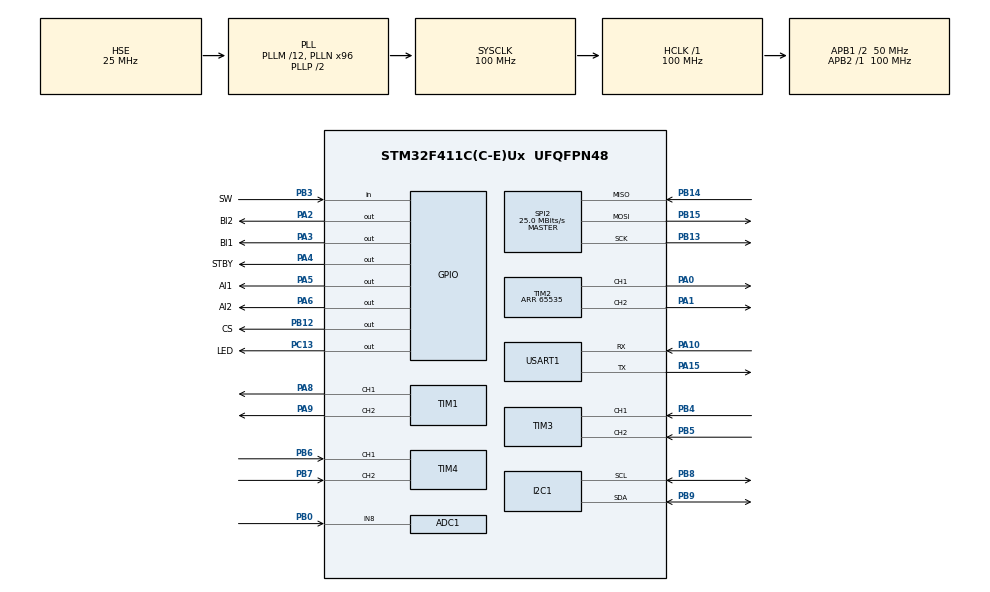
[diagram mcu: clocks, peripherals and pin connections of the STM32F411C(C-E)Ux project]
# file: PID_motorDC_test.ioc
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ADC1.Channel-5\#ChannelRegularConversion=ADC_CHANNEL_8
ADC1.ContinuousConvMode=DISABLE
ADC1.DMAContinuousRequests=ENABLE
ADC1.NbrOfConversionFlag=1
ADC1.Rank-5\#ChannelRegularConversion=1
ADC1.Resolution=ADC_RESOLUTION_12B
ADC1.SamplingTime-5\#ChannelRegularConversion=ADC_SAMPLETIME_3CYCLES
ADC1.ScanConvMode=DISABLE
ADC1.master=1
Dma.ADC1.0.Direction=DMA_PERIPH_TO_MEMORY
Dma.ADC1.0.FIFOMode=DMA_FIFOMODE_DISABLE
Dma.ADC1.0.Instance=DMA2_Stream0
Dma.ADC1.0.MemDataAlignment=DMA_MDATAALIGN_HALFWORD
Dma.ADC1.0.MemInc=DMA_MINC_ENABLE
Dma.ADC1.0.Mode=DMA_CIRCULAR
Dma.ADC1.0.PeriphDataAlignment=DMA_PDATAALIGN_HALFWORD
Dma.ADC1.0.PeriphInc=DMA_PINC_DISABLE
Dma.ADC1.0.Priority=DMA_PRIORITY_LOW
Dma.Request0=ADC1
I2C1.I2C_Mode=I2C_Standard
Mcu.Family=STM32F4
Mcu.Name=STM32F411C(C-E)Ux
Mcu.Package=UFQFPN48
NVIC.DMA2_Stream0_IRQn=true\:5\:0\:true\:false\:true\:false\:true\:true
NVIC.PriorityGroup=NVIC_PRIORITYGROUP_4
NVIC.TIM1_UP_TIM10_IRQn=true\:5\:0\:true\:false\:true\:true\:true\:true
PA0-WKUP.Signal=S_TIM2_CH1_ETR
PA1.Signal=S_TIM2_CH2
PA10.Mode=Asynchronous
PA10.Signal=USART1_RX
PA13.Mode=Serial_Wire
PA13.Signal=SYS_JTMS-SWDIO
PA14.Mode=Serial_Wire
PA14.Signal=SYS_JTCK-SWCLK
PA15.Mode=Asynchronous
PA15.Signal=USART1_TX
PA2.GPIO_Label=BI2
PA2.Signal=GPIO_Output
PA3.GPIO_Label=BI1
PA3.Signal=GPIO_Output
PA4.GPIO_Label=STBY
PA4.Signal=GPIO_Output
PA5.GPIO_Label=AI1
PA5.Signal=GPIO_Output
PA6.GPIO_Label=AI2
PA6.Signal=GPIO_Output
PA8.Signal=S_TIM1_CH1
PA9.Signal=S_TIM1_CH2
PB0.Signal=ADCx_IN8
PB12.GPIO_Label=CS
PB12.Signal=GPIO_Output
PB13.Mode=Full_Duplex_Master
PB13.Signal=SPI2_SCK
PB14.Mode=Full_Duplex_Master
PB14.Signal=SPI2_MISO
PB15.Mode=Full_Duplex_Master
PB15.Signal=SPI2_MOSI
PB3.GPIO_Label=SW
PB3.Signal=GPIO_Input
PB4.Signal=S_TIM3_CH1
PB5.Signal=S_TIM3_CH2
PB6.Signal=S_TIM4_CH1
PB7.Signal=S_TIM4_CH2
PB8.Mode=I2C
PB8.Signal=I2C1_SCL
PB9.Mode=I2C
PB9.Signal=I2C1_SDA
PC13-ANTI_TAMP.GPIO_Label=LED
PC13-ANTI_TAMP.Signal=GPIO_Output
PC14-OSC32_IN.Mode=LSE-External-Oscillator
PC14-OSC32_IN.Signal=RCC_OSC32_IN
PC15-OSC32_OUT.Mode=LSE-External-Oscillator
PC15-OSC32_OUT.Signal=RCC_OSC32_OUT
PH0\ -\ OSC_IN.Mode=HSE-External-Oscillator
PH0\ -\ OSC_IN.Signal=RCC_OSC_IN
PH1\ -\ OSC_OUT.Mode=HSE-External-Oscillator
PH1\ -\ OSC_OUT.Signal=RCC_OSC_OUT
ProjectManager.HeapSize=0x200
ProjectManager.StackSize=0x400
ProjectManager.TargetToolchain=STM32CubeIDE
RCC.48MHZClocksFreq_Value=50000000
RCC.AHBFreq_Value=100000000
RCC.APB1CLKDivider=RCC_HCLK_DIV2
RCC.APB1Freq_Value=50000000
RCC.APB1TimFreq_Value=100000000
RCC.APB2Freq_Value=100000000
RCC.APB2TimFreq_Value=100000000
RCC.CortexFreq_Value=100000000
RCC.HCLKFreq_Value=100000000
RCC.HSE_VALUE=25000000
RCC.HSI_VALUE=16000000
RCC.PLLM=12
RCC.PLLN=96
RCC.PLLSourceVirtual=RCC_PLLSOURCE_HSE
RCC.SYSCLKFreq_VALUE=100000000
RCC.SYSCLKSource=RCC_SYSCLKSOURCE_PLLCLK
RCC.VCOOutputFreq_Value=200000000
SH.ADCx_IN8.0=ADC1_IN8,IN8
SH.S_TIM1_CH1.0=TIM1_CH1,PWM Generation1 CH1
SH.S_TIM1_CH2.0=TIM1_CH2,PWM Generation2 CH2
SH.S_TIM2_CH1_ETR.0=TIM2_CH1,PWM Generation1 CH1
SH.S_TIM2_CH2.0=TIM2_CH2,PWM Generation2 CH2
SH.S_TIM3_CH1.0=TIM3_CH1,Encoder_Interface
SH.S_TIM3_CH2.0=TIM3_CH2,Encoder_Interface
SH.S_TIM4_CH1.0=TIM4_CH1,Encoder_Interface
SH.S_TIM4_CH2.0=TIM4_CH2,Encoder_Interface
SPI2.CRCCalculation=SPI_CRCCALCULATION_DISABLE
SPI2.CalculateBaudRate=25.0 MBits/s
SPI2.Direction=SPI_DIRECTION_2LINES
SPI2.Mode=SPI_MODE_MASTER
SPI2.VirtualType=VM_MASTER
TIM1.AutoReloadPreload=TIM_AUTORELOAD_PRELOAD_ENABLE
TIM1.Channel-PWM\ Generation1\ CH1=TIM_CHANNEL_1
TIM1.Channel-PWM\ Generation2\ CH2=TIM_CHANNEL_2
TIM10.Period=62499
TIM10.Prescaler=15
TIM2.AutoReloadPreload=TIM_AUTORELOAD_PRELOAD_ENABLE
TIM2.Channel-PWM\ Generation1\ CH1=TIM_CHANNEL_1
TIM2.Channel-PWM\ Generation2\ CH2=TIM_CHANNEL_2
TIM2.Period=65535
TIM3.AutoReloadPreload=TIM_AUTORELOAD_PRELOAD_ENABLE
TIM3.EncoderMode=TIM_ENCODERMODE_TI12
TIM3.IC1Polarity=TIM_ICPOLARITY_RISING
TIM4.AutoReloadPreload=TIM_AUTORELOAD_PRELOAD_ENABLE
TIM4.EncoderMode=TIM_ENCODERMODE_TI12
TIM4.IC1Filter=10
TIM4.IC2Filter=10
USART1.VirtualMode=VM_ASYNC
VP_RTC_VS_RTC_Activate.Mode=RTC_Enabled
VP_RTC_VS_RTC_Calendar.Mode=RTC_Calendar
VP_TIM10_VS_ClockSourceINT.Mode=Enable_Timer
VP_TIM1_VS_ClockSourceINT.Mode=Internal
VP_TIM2_VS_ClockSourceINT.Mode=Internal
board=custom

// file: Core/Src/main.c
/* USER CODE BEGIN Header */
/**
  ******************************************************************************
  * @file           : main.c
  * @brief          : Main program body
  ******************************************************************************
  * @attention
  *
  * Copyright (c) 2025 STMicroelectronics.
  * All rights reserved.
  *
  * This software is licensed under terms that can be found in the LICENSE file
  * in the root directory of this software component.
  * If no LICENSE file comes with this software, it is provided AS-IS.
  *
  ******************************************************************************
  */
/* USER CODE END Header */
#include "main.h"
#include "adc.h"
#include "dma.h"
#include "i2c.h"
#include "rtc.h"
#include "spi.h"
#include "tim.h"
#include "usart.h"
#include "gpio.h"

/* USER CODE BEGIN Includes */
#include "motor_encoder.h"
#include "ssd1306.h"
#include "ssd1306_tests.h"

/* USER CODE END Includes */

/* USER CODE BEGIN PV */
uint16_t adc_val;
uint16_t speed;
uint32_t encoderRaw1 = 0;
int16_t encoderVal1 = 0;
uint32_t encoderRaw2 = 0;
int16_t encoderVal2 = 0;
int16_t encoderVel;
int16_t encoderPos;

int8_t status = 0;

extern encoderConfig encoder;
/* USER CODE END PV */

void SystemClock_Config(void);

/* USER CODE BEGIN 0 */
float map(float x, float in_min, float in_max, float out_min, float out_max)
{
	return (x - in_min) * (out_max - out_min) / (in_max - in_min) + out_min;
}
//
void setMotor(int dir, int pwm1, int pwm2)
{
	TIM1->CCR1 = pwm1;
	TIM1->CCR2 = pwm2;
	HAL_GPIO_WritePin(GPIOA, STBY_Pin, 1);
	if(dir == 1)
	{
		HAL_GPIO_WritePin(GPIOA, AI1_Pin, 1);
		HAL_GPIO_WritePin(GPIOA, AI2_Pin, 0);
		HAL_GPIO_WritePin(GPIOA, BI1_Pin, 1);
		HAL_GPIO_WritePin(GPIOA, BI2_Pin, 0);
	}
	else if(dir == -1)
	{
		HAL_GPIO_WritePin(GPIOA, AI1_Pin, 0);
		HAL_GPIO_WritePin(GPIOA, AI2_Pin, 1);
		HAL_GPIO_WritePin(GPIOA, BI1_Pin, 0);
		HAL_GPIO_WritePin(GPIOA, BI2_Pin, 1);
	}
	else
	{
		HAL_GPIO_WritePin(GPIOA, AI1_Pin, 0);
		HAL_GPIO_WritePin(GPIOA, AI2_Pin, 0);
		HAL_GPIO_WritePin(GPIOA, BI1_Pin, 0);
		HAL_GPIO_WritePin(GPIOA, BI2_Pin, 0);
	}
}
//
void HAL_TIM_PeriodElapsedCallback(TIM_HandleTypeDef *htim)
{
	if(htim->Instance == TIM10)
	{
		encoderRaw2 = TIM4->CNT;
		encoderVal2 = (int16_t)(encoderRaw2 >> 2);
		update_encoder(&htim4);
		encoderVel = encoder.velocity;
		encoderPos = encoder.position;

		encoderRaw1 = TIM3->CNT;
		encoderVal1 = (int16_t)(encoderRaw1 >> 2);
	}
}

/* USER CODE END 0 */

int main(void)
{

  /* MCU Configuration--------------------------------------------------------*/

  /* Reset of all peripherals, Initializes the Flash interface and the Systick. */
  HAL_Init();

  /* Configure the system clock */
  SystemClock_Config();

  /* Initialize all configured peripherals */
  MX_GPIO_Init();
  MX_DMA_Init();
  MX_TIM1_Init();
  MX_ADC1_Init();
  MX_TIM3_Init();
  MX_I2C1_Init();
  MX_USART1_UART_Init();
  MX_SPI2_Init();
  MX_TIM2_Init();
  MX_TIM4_Init();
  MX_RTC_Init();
  MX_TIM10_Init();
  /* USER CODE BEGIN 2 */

  HAL_TIM_PWM_Start(&htim1, TIM_CHANNEL_1);
  HAL_TIM_PWM_Start(&htim1, TIM_CHANNEL_2);
  HAL_TIM_PWM_Start(&htim2, TIM_CHANNEL_1);
  HAL_TIM_PWM_Start(&htim2, TIM_CHANNEL_2);

  HAL_TIM_Encoder_Start(&htim3, TIM_CHANNEL_ALL);
  HAL_TIM_Encoder_Start(&htim4, TIM_CHANNEL_ALL);

  HAL_TIM_Base_Start_IT(&htim10);

  ssd1306_Init();

  /* USER CODE END 2 */

  /* Infinite loop */
  while (1)
  {

    /* USER CODE BEGIN 3 */
//	HAL_ADC_Start_DMA(&hadc1, &adc_val, 1);

	HAL_GPIO_TogglePin(LED_GPIO_Port, LED_Pin);
	HAL_Delay(100);
//
//	TIM2->CCR1 = 32767;
//	TIM2->CCR2 = 32767;
//
//	speed = map(adc_val, 0, 4095, 0, 65535);
//
//	setMotor(1, 32767, 0);
//	HAL_Delay(100);

	speed = map(adc_val, 0, 4095, 0, 65535);

	setMotor(-1, 0, 0);
	HAL_Delay(100);

	ssd1306_TestDrawBitmap();
  }
  /* USER CODE END 3 */
}

void SystemClock_Config(void)
{
  RCC_OscInitTypeDef RCC_OscInitStruct = {0};
  RCC_ClkInitTypeDef RCC_ClkInitStruct = {0};

  /** Configure the main internal regulator output voltage
  */
  __HAL_RCC_PWR_CLK_ENABLE();
  __HAL_PWR_VOLTAGESCALING_CONFIG(PWR_REGULATOR_VOLTAGE_SCALE1);

  /** Initializes the RCC Oscillators according to the specified parameters
  * in the RCC_OscInitTypeDef structure.
  */
  RCC_OscInitStruct.OscillatorType = RCC_OSCILLATORTYPE_LSI|RCC_OSCILLATORTYPE_HSE;
  RCC_OscInitStruct.HSEState = RCC_HSE_ON;
  RCC_OscInitStruct.LSIState = RCC_LSI_ON;
  RCC_OscInitStruct.PLL.PLLState = RCC_PLL_ON;
  RCC_OscInitStruct.PLL.PLLSource = RCC_PLLSOURCE_HSE;
  RCC_OscInitStruct.PLL.PLLM = 12;
  RCC_OscInitStruct.PLL.PLLN = 96;
  RCC_OscInitStruct.PLL.PLLP = RCC_PLLP_DIV2;
  RCC_OscInitStruct.PLL.PLLQ = 4;
  if (HAL_RCC_OscConfig(&RCC_OscInitStruct) != HAL_OK)
  {
    Error_Handler();
  }

  /** Initializes the CPU, AHB and APB buses clocks
  */
  RCC_ClkInitStruct.ClockType = RCC_CLOCKTYPE_HCLK|RCC_CLOCKTYPE_SYSCLK
                              |RCC_CLOCKTYPE_PCLK1|RCC_CLOCKTYPE_PCLK2;
  RCC_ClkInitStruct.SYSCLKSource = RCC_SYSCLKSOURCE_PLLCLK;
  RCC_ClkInitStruct.AHBCLKDivider = RCC_SYSCLK_DIV1;
  RCC_ClkInitStruct.APB1CLKDivider = RCC_HCLK_DIV2;
  RCC_ClkInitStruct.APB2CLKDivider = RCC_HCLK_DIV1;

  if (HAL_RCC_ClockConfig(&RCC_ClkInitStruct, FLASH_LATENCY_3) != HAL_OK)
  {
    Error_Handler();
  }
}

void Error_Handler(void)
{
  __disable_irq();
  while (1)
  {
  }
}
